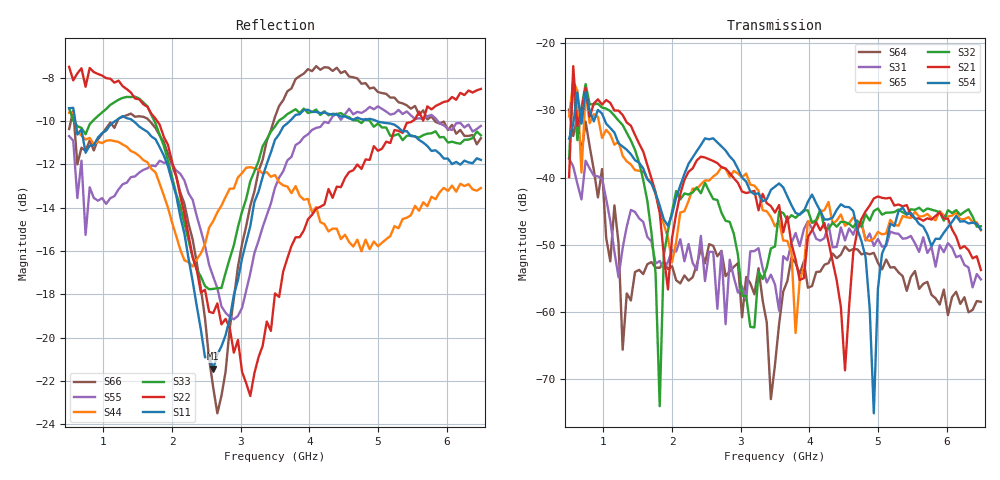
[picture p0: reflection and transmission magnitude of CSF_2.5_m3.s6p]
!Keysight Technologies,M9804A,MY58100912,A.14.10.03
!Date: Thursday, April 27, 2023 10:28:33
!Correction: S11(C  6-Port  )
!S12(C  6-Port  )
!S13(C  6-Port  )
!S14(C  6-Port  )
!S15(C  6-Port  )
!S16(C  6-Port  )
!S21(C  6-Port  )
!S22(C  6-Port  )
!S23(C  6-Port  )
!S24(C  6-Port  )
!S25(C  6-Port  )
!S26(C  6-Port  )
!S31(C  6-Port  )
!S32(C  6-Port  )
!S33(C  6-Port  )
!S34(C  6-Port  )
!S35(C  6-Port  )
!S36(C  6-Port  )
!S41(C  6-Port  )
!S42(C  6-Port  )
!S43(C  6-Port  )
!S44(C  6-Port  )
!S45(C  6-Port  )
!S46(C  6-Port  )
!S51(C  6-Port  )
!S52(C  6-Port  )
!S53(C  6-Port  )
!S54(C  6-Port  )
!S55(C  6-Port  )
!S56(C  6-Port  )
!S61(C  6-Port  )
!S62(C  6-Port  )
!S63(C  6-Port  )
!S64(C  6-Port  )
!S65(C  6-Port  )
!S66(C  6-Port  )
!S6P File: Measurement: :
# Hz S  RI  R 50
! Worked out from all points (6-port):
!   101 points, 500 MHz to 6.5 GHz, reference 50 ohm
!   strongest paths, dB at 500 MHz, 2 GHz, 3.5 GHz, 5 GHz, 6.5 GHz:
!     S54: -34.2, -45.5, -41.3, -56.5, -47.7
!     S21: -39.9, -49.0, -45.2, -42.8, -53.7
!     S32: -37.1, -45.0, -50.2, -44.6, -47.2
!     S65: -30.9, -52.5, -47.2, -48.1, -47.8
!     S31: -37.2, -50.8, -55.9, -49.1, -55.1
!     S64: -29.9, -53.2, -67.8, -52.7, -58.5
!   lowest |S11| = -21.4 dB at 2.6 GHz (marker M1), VSWR 1.19, Z = 42.5 + j2.2 ohm
!   |S11| at or under -10 dB: 589.6 MHz to 1.172 GHz (582.8 MHz wide, 66.1 % of centre); 1.435 GHz to 3.715 GHz (2.28 GHz wide, 88.5 % of centre); 4.981 GHz to end of sweep
